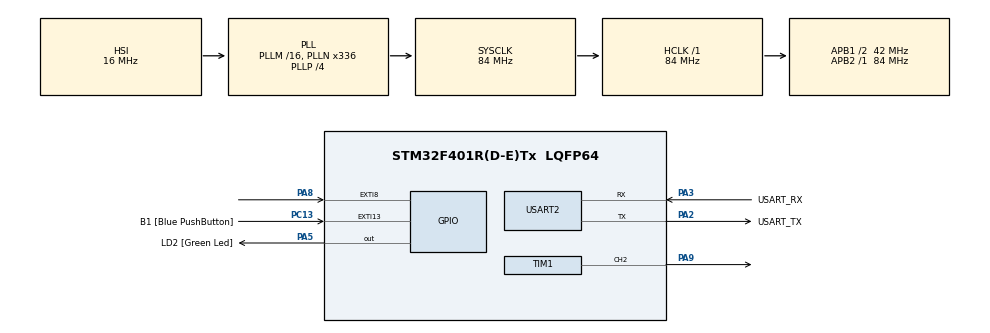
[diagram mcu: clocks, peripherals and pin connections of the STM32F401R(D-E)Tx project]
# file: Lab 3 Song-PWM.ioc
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Mcu.Family=STM32F4
Mcu.Name=STM32F401R(D-E)Tx
Mcu.Package=LQFP64
NVIC.EXTI9_5_IRQn=true\:0\:0\:false\:false\:true\:true\:true\:true
NVIC.PriorityGroup=NVIC_PRIORITYGROUP_0
PA13.GPIO_Label=TMS
PA13.Mode=Serial_Wire
PA13.Signal=SYS_JTMS-SWDIO
PA14.GPIO_Label=TCK
PA14.Mode=Serial_Wire
PA14.Signal=SYS_JTCK-SWCLK
PA2.GPIO_Label=USART_TX
PA2.GPIO_Mode=GPIO_MODE_AF_PP
PA2.GPIO_PuPd=GPIO_NOPULL
PA2.GPIO_Speed=GPIO_SPEED_FREQ_LOW
PA2.Mode=Asynchronous
PA2.Signal=USART2_TX
PA3.GPIO_Label=USART_RX
PA3.GPIO_Mode=GPIO_MODE_AF_PP
PA3.GPIO_PuPd=GPIO_NOPULL
PA3.GPIO_Speed=GPIO_SPEED_FREQ_LOW
PA3.Mode=Asynchronous
PA3.Signal=USART2_RX
PA5.GPIO_Label=LD2 [Green Led]
PA5.GPIO_Mode=GPIO_MODE_OUTPUT_PP
PA5.GPIO_PuPd=GPIO_NOPULL
PA5.GPIO_Speed=GPIO_SPEED_FREQ_LOW
PA5.Signal=GPIO_Output
PA8.Signal=GPXTI8
PA9.Signal=S_TIM1_CH2
PB3.GPIO_Label=SWO
PB3.Signal=SYS_JTDO-SWO
PC13-ANTI_TAMP.GPIO_Label=B1 [Blue PushButton]
PC13-ANTI_TAMP.GPIO_ModeDefaultEXTI=GPIO_MODE_IT_FALLING
PC13-ANTI_TAMP.GPIO_PuPd=GPIO_NOPULL
PC13-ANTI_TAMP.Signal=GPXTI13
PC14-OSC32_IN.Mode=LSE-External-Oscillator
PC14-OSC32_IN.Signal=RCC_OSC32_IN
PC15-OSC32_OUT.Mode=LSE-External-Oscillator
PC15-OSC32_OUT.Signal=RCC_OSC32_OUT
PH0\ -\ OSC_IN.Mode=HSE-External-Clock-Source
PH0\ -\ OSC_IN.Signal=RCC_OSC_IN
PH1\ -\ OSC_OUT.Mode=HSE-External-Clock-Source
PH1\ -\ OSC_OUT.Signal=RCC_OSC_OUT
ProjectManager.HeapSize=0x200
ProjectManager.StackSize=0x400
ProjectManager.TargetToolchain=STM32CubeIDE
RCC.48MHZClocksFreq_Value=48000000
RCC.AHBFreq_Value=84000000
RCC.APB1CLKDivider=RCC_HCLK_DIV2
RCC.APB1Freq_Value=42000000
RCC.APB1TimFreq_Value=84000000
RCC.APB2Freq_Value=84000000
RCC.APB2TimFreq_Value=84000000
RCC.CortexFreq_Value=84000000
RCC.HCLKFreq_Value=84000000
RCC.HSE_VALUE=8000000
RCC.HSI_VALUE=16000000
RCC.PLLN=336
RCC.PLLP=RCC_PLLP_DIV4
RCC.PLLQ=7
RCC.SYSCLKFreq_VALUE=84000000
RCC.SYSCLKSource=RCC_SYSCLKSOURCE_PLLCLK
RCC.VCOOutputFreq_Value=336000000
SH.S_TIM1_CH2.0=TIM1_CH2,PWM Generation2 CH2
TIM1.Channel-PWM\ Generation2\ CH2=TIM_CHANNEL_2
TIM1.Prescaler=83
USART2.VirtualMode=VM_ASYNC
VP_TIM1_VS_ClockSourceINT.Mode=Internal
board=NUCLEO-F401RE

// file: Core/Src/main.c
/* USER CODE BEGIN Header */
/**
  ******************************************************************************
  * @file           : main.c
  * @brief          : Main program body
  ******************************************************************************
  * @attention
  *
  * Copyright (c) 2023 STMicroelectronics.
  * All rights reserved.
  *
  * This software is licensed under terms that can be found in the LICENSE file
  * in the root directory of this software component.
  * If no LICENSE file comes with this software, it is provided AS-IS.
  *
  ******************************************************************************
  */
/* USER CODE END Header */
#include "main.h"

/* USER CODE BEGIN Includes */
#include <stdlib.h>
#include <string.h>
#include <math.h>
/* USER CODE END Includes */

/* USER CODE BEGIN PTD */
typedef struct {
	char name[4];
	float duration;
}note;

const note song1[] = {
		{"P", 	1},

		{"E4", 	1},
		{"B4", 	.5},
		{"C4", 	.5},
		{"D4", 	.5},
		{"E4", 	.25},
		{"D4", 	.25},
		{"C4", 	.5},
		{"B4", 	.5},
		{"A4", 	1},
		{"A4", 	.5},
		{"C4", 	.5},
		{"E4", 	1},
		{"D4", 	.5},
		{"C4", 	.5},
		{"B4", 	1},
		{"B4", 	.5},
		{"C4", 	.5},
		{"D4", 	1},
		{"E4", 	1},
		{"C4", 	1},
		{"A4", 	1},
		{"A4", 	.5},
		{"E2", 	.5},
		{"F2", 	.5},
		{"G2", 	.5},

		{"A3", 	0.5},
		{"D4", 	1},
		{"F4", 	.5},
		{"A5", 	1},
		{"G4", 	.5},
		{"F4", 	.5},
		{"E4", 	1.5},
		{"C4", 	.5},
		{"E4", 	1},
		{"D4", 	.5},
		{"C4", 	.5},
		{"B4", 	1},
		{"B4", 	.5},
		{"C4", 	.5},
		{"D4", 	1},
		{"E4", 	1},
		{"C4", 	1},
		{"A4", 	1},
		{"A4", 	1},
		{"P", 	1},

		//repetition
		{"E4", 	1},
		{"B4", 	.5},
		{"C4", 	.5},
		{"D4", 	.5},
		{"E4", 	.25},
		{"D4", 	.25},
		{"C4", 	.5},
		{"B4", 	.5},
		{"A4", 	1},
		{"A4", 	.5},
		{"C4", 	.5},
		{"E4", 	1},
		{"D4", 	.5},
		{"C4", 	.5},
		{"B4", 	1},
		{"B4", 	.5},
		{"C4", 	.5},
		{"D4", 	1},
		{"E4", 	1},
		{"C4", 	1},
		{"A4", 	1},
		{"A4", 	.5},
		{"E2", 	.5},
		{"F2", 	.5},
		{"G2", 	.5},

		{"A3", 	0.5},
		{"D4", 	1},
		{"F4", 	.5},
		{"A5", 	1},
		{"G4", 	.5},
		{"F4", 	.5},
		{"E4", 	1.5},
		{"C4", 	.5},
		{"E4", 	1},
		{"D4", 	.5},
		{"C4", 	.5},
		{"B4", 	1},
		{"B4", 	.5},
		{"C4", 	.5},
		{"D4", 	1},
		{"E4", 	1},
		{"C4", 	1},
		{"A4", 	1},
		{"A4", 	1},
		{"P", 	1},

		//second verse
		{"E3", 	.5},
		{"E2", 	.5},
		{"D2", 	.5},
		{"E2", 	.5},
		{"C3", 	.5},
		{"E2", 	.5},
		{"D2", 	.5},
		{"E2", 	.5},

		{"D3", 	.5},
		{"E2", 	.5},
		{"C#2", .5},
		{"E2", 	.5},
		{"B3", 	.5},
		{"E2", 	.5},
		{"C#2", .5},
		{"E2", 	.5},

		{"C3", 	.5},
		{"E2", 	.5},
		{"D2", 	.5},
		{"E2", 	.5},
		{"A3", 	.5},
		{"E2", 	.5},
		{"D2", 	.5},
		{"E2", 	.5},

		{"G#2", .5},
		{"E2", 	.5},
		{"C#2", .5},
		{"E2", 	.5},
		{"B3", 	.5},
		{"E2", 	.5},
		{"C#2", .5},
		{"E2", 	.5},

		{"E3", 	.5},
		{"E2", 	.5},
		{"D2", 	.5},
		{"E2", 	.5},
		{"C3", 	.5},
		{"E2", 	.5},
		{"D2", 	.5},
		{"E2", 	.5},

		{"D3", .5},
		{"E2", 	.5},
		{"C#2", .5},
		{"E2", 	.5},
		{"B3", 	.5},
		{"E2", 	.5},
		{"C#2", .5},
		{"E2", 	.5},

		{"C3", .5},
		{"A2", 	.5},
		{"E3", .5},
		{"D2", 	.5},
		{"A4", 	.5},
		{"D2", 	.5},
		{"A4", .5},
		{"D2", 	.5},

		{"G#3", 4}

};

const note gameOver[] = {
		{"P", 	2},
		{"C#5", .5},
		{"C5", 	.5},
		{"C#5", .5},
		{"C5", 	.5},
		{"C#5", .5},
		{"D#5", .5},
		{"C#5", .5},
		{"C5", 	.5},
		{"C#5", 1.5}
};
/* USER CODE END PTD */

TIM_HandleTypeDef htim1;

UART_HandleTypeDef huart2;

/* USER CODE BEGIN PV */
float BPS = 60.0/160.0;
int SPEAKER_STATE = 0;
/* USER CODE END PV */

void SystemClock_Config(void);
static void MX_GPIO_Init(void);
static void MX_USART2_UART_Init(void);
static void MX_TIM1_Init(void);

/* USER CODE BEGIN 0 */

float note_to_freq(char* note);

void play_note(note val);

void set_pwm(float freq);

/* USER CODE END 0 */

int main(void)
{

  /* MCU Configuration--------------------------------------------------------*/

  /* Reset of all peripherals, Initializes the Flash interface and the Systick. */
  HAL_Init();

  /* Configure the system clock */
  SystemClock_Config();

  /* Initialize all configured peripherals */
  MX_GPIO_Init();
  MX_USART2_UART_Init();
  MX_TIM1_Init();

  /* Infinite loop */
  /* USER CODE BEGIN WHILE */

  int song_length = sizeof(song1)/sizeof(song1[0]);

  while (60.0/250.0 < BPS)
  {
	  if(SPEAKER_STATE){
		  for(int i = 0; i < song_length; i++){
			  play_note(song1[i]);
			  BPS -= 0.0004;
		  }
		  SPEAKER_STATE = 0;
	  }

    /* USER CODE END WHILE */

    /* USER CODE BEGIN 3 */
  }

  BPS = 60.0/160.0;
  song_length = sizeof(gameOver)/sizeof(gameOver[0]);
  for(int i = 0; i < song_length; i++){
	  play_note(gameOver[i]);

  }

  /* USER CODE END 3 */
}

void SystemClock_Config(void)
{
  RCC_OscInitTypeDef RCC_OscInitStruct = {0};
  RCC_ClkInitTypeDef RCC_ClkInitStruct = {0};

  /** Configure the main internal regulator output voltage
  */
  __HAL_RCC_PWR_CLK_ENABLE();
  __HAL_PWR_VOLTAGESCALING_CONFIG(PWR_REGULATOR_VOLTAGE_SCALE2);

  /** Initializes the RCC Oscillators according to the specified parameters
  * in the RCC_OscInitTypeDef structure.
  */
  RCC_OscInitStruct.OscillatorType = RCC_OSCILLATORTYPE_HSI;
  RCC_OscInitStruct.HSIState = RCC_HSI_ON;
  RCC_OscInitStruct.HSICalibrationValue = RCC_HSICALIBRATION_DEFAULT;
  RCC_OscInitStruct.PLL.PLLState = RCC_PLL_ON;
  RCC_OscInitStruct.PLL.PLLSource = RCC_PLLSOURCE_HSI;
  RCC_OscInitStruct.PLL.PLLM = 16;
  RCC_OscInitStruct.PLL.PLLN = 336;
  RCC_OscInitStruct.PLL.PLLP = RCC_PLLP_DIV4;
  RCC_OscInitStruct.PLL.PLLQ = 7;
  if (HAL_RCC_OscConfig(&RCC_OscInitStruct) != HAL_OK)
  {
    Error_Handler();
  }

  /** Initializes the CPU, AHB and APB buses clocks
  */
  RCC_ClkInitStruct.ClockType = RCC_CLOCKTYPE_HCLK|RCC_CLOCKTYPE_SYSCLK
                              |RCC_CLOCKTYPE_PCLK1|RCC_CLOCKTYPE_PCLK2;
  RCC_ClkInitStruct.SYSCLKSource = RCC_SYSCLKSOURCE_PLLCLK;
  RCC_ClkInitStruct.AHBCLKDivider = RCC_SYSCLK_DIV1;
  RCC_ClkInitStruct.APB1CLKDivider = RCC_HCLK_DIV2;
  RCC_ClkInitStruct.APB2CLKDivider = RCC_HCLK_DIV1;

  if (HAL_RCC_ClockConfig(&RCC_ClkInitStruct, FLASH_LATENCY_2) != HAL_OK)
  {
    Error_Handler();
  }
}

static void MX_TIM1_Init(void)
{

  TIM_ClockConfigTypeDef sClockSourceConfig = {0};
  TIM_MasterConfigTypeDef sMasterConfig = {0};
  TIM_OC_InitTypeDef sConfigOC = {0};
  TIM_BreakDeadTimeConfigTypeDef sBreakDeadTimeConfig = {0};

  htim1.Instance = TIM1;
  htim1.Init.Prescaler = 83;
  htim1.Init.CounterMode = TIM_COUNTERMODE_UP;
  htim1.Init.Period = 65535;
  htim1.Init.ClockDivision = TIM_CLOCKDIVISION_DIV1;
  htim1.Init.RepetitionCounter = 0;
  htim1.Init.AutoReloadPreload = TIM_AUTORELOAD_PRELOAD_DISABLE;
  if (HAL_TIM_Base_Init(&htim1) != HAL_OK)
  {
    Error_Handler();
  }
  sClockSourceConfig.ClockSource = TIM_CLOCKSOURCE_INTERNAL;
  if (HAL_TIM_ConfigClockSource(&htim1, &sClockSourceConfig) != HAL_OK)
  {
    Error_Handler();
  }
  if (HAL_TIM_PWM_Init(&htim1) != HAL_OK)
  {
    Error_Handler();
  }
  sMasterConfig.MasterOutputTrigger = TIM_TRGO_RESET;
  sMasterConfig.MasterSlaveMode = TIM_MASTERSLAVEMODE_DISABLE;
  if (HAL_TIMEx_MasterConfigSynchronization(&htim1, &sMasterConfig) != HAL_OK)
  {
    Error_Handler();
  }
  sConfigOC.OCMode = TIM_OCMODE_PWM1;
  sConfigOC.Pulse = 0;
  sConfigOC.OCPolarity = TIM_OCPOLARITY_HIGH;
  sConfigOC.OCNPolarity = TIM_OCNPOLARITY_HIGH;
  sConfigOC.OCFastMode = TIM_OCFAST_DISABLE;
  sConfigOC.OCIdleState = TIM_OCIDLESTATE_RESET;
  sConfigOC.OCNIdleState = TIM_OCNIDLESTATE_RESET;
  if (HAL_TIM_PWM_ConfigChannel(&htim1, &sConfigOC, TIM_CHANNEL_2) != HAL_OK)
  {
    Error_Handler();
  }
  sBreakDeadTimeConfig.OffStateRunMode = TIM_OSSR_DISABLE;
  sBreakDeadTimeConfig.OffStateIDLEMode = TIM_OSSI_DISABLE;
  sBreakDeadTimeConfig.LockLevel = TIM_LOCKLEVEL_OFF;
  sBreakDeadTimeConfig.DeadTime = 0;
  sBreakDeadTimeConfig.BreakState = TIM_BREAK_DISABLE;
  sBreakDeadTimeConfig.BreakPolarity = TIM_BREAKPOLARITY_HIGH;
  sBreakDeadTimeConfig.AutomaticOutput = TIM_AUTOMATICOUTPUT_DISABLE;
  if (HAL_TIMEx_ConfigBreakDeadTime(&htim1, &sBreakDeadTimeConfig) != HAL_OK)
  {
    Error_Handler();
  }
  HAL_TIM_MspPostInit(&htim1);

}

static void MX_USART2_UART_Init(void)
{

  huart2.Instance = USART2;
  huart2.Init.BaudRate = 115200;
  huart2.Init.WordLength = UART_WORDLENGTH_8B;
  huart2.Init.StopBits = UART_STOPBITS_1;
  huart2.Init.Parity = UART_PARITY_NONE;
  huart2.Init.Mode = UART_MODE_TX_RX;
  huart2.Init.HwFlowCtl = UART_HWCONTROL_NONE;
  huart2.Init.OverSampling = UART_OVERSAMPLING_16;
  if (HAL_UART_Init(&huart2) != HAL_OK)
  {
    Error_Handler();
  }

}

static void MX_GPIO_Init(void)
{
  GPIO_InitTypeDef GPIO_InitStruct = {0};

  /* GPIO Ports Clock Enable */
  __HAL_RCC_GPIOC_CLK_ENABLE();
  __HAL_RCC_GPIOH_CLK_ENABLE();
  __HAL_RCC_GPIOA_CLK_ENABLE();
  __HAL_RCC_GPIOB_CLK_ENABLE();

  /*Configure GPIO pin Output Level */
  HAL_GPIO_WritePin(LD2_GPIO_Port, LD2_Pin, GPIO_PIN_RESET);

  /*Configure GPIO pin : B1_Pin */
  GPIO_InitStruct.Pin = B1_Pin;
  GPIO_InitStruct.Mode = GPIO_MODE_IT_FALLING;
  GPIO_InitStruct.Pull = GPIO_NOPULL;
  HAL_GPIO_Init(B1_GPIO_Port, &GPIO_InitStruct);

  /*Configure GPIO pin : LD2_Pin */
  GPIO_InitStruct.Pin = LD2_Pin;
  GPIO_InitStruct.Mode = GPIO_MODE_OUTPUT_PP;
  GPIO_InitStruct.Pull = GPIO_NOPULL;
  GPIO_InitStruct.Speed = GPIO_SPEED_FREQ_LOW;
  HAL_GPIO_Init(LD2_GPIO_Port, &GPIO_InitStruct);

  /*Configure GPIO pin : PA8 */
  GPIO_InitStruct.Pin = GPIO_PIN_8;
  GPIO_InitStruct.Mode = GPIO_MODE_IT_RISING;
  GPIO_InitStruct.Pull = GPIO_NOPULL;
  HAL_GPIO_Init(GPIOA, &GPIO_InitStruct);

  /* EXTI interrupt init*/
  HAL_NVIC_SetPriority(EXTI9_5_IRQn, 0, 0);
  HAL_NVIC_EnableIRQ(EXTI9_5_IRQn);

}

/* USER CODE BEGIN 4 */

/**
  * @brief Conversion from note in string form to corresponding frequency
  * @retval Floating point frequency
  */
float note_to_freq(char* note){
	switch(note[0]){
	case 'A':
		if(note[1] == '#')
			return 58.27*pow(2, atoi(&note[2]));
		return 55*pow(2, (float)atoi(&note[1]));
		break;
	case 'B':
		return 61.74*pow(2, (float)atoi(&note[1]));
		break;
	case 'C':
		if(note[1] == '#')
			return 69.30*pow(2, atoi(&note[2]));
		return 65.41*pow(2, (float)atoi(&note[1]));
		break;
	case 'D':
		if(note[1] == '#')
			return 77.78*pow(2, atoi(&note[2]));
		return 73.42*pow(2, (float)atoi(&note[1]));
		break;
	case 'E':
		return 82.41*pow(2, (float)atoi(&note[1]));
		break;
	case 'F':
		if(note[1] == '#')
			return 92.50*pow(2, atoi(&note[2]));
		return 87.31*pow(2, (float)atoi(&note[1]));
		break;
	case 'G':
		if(note[1] == '#')
			return 103.83*pow(2, atoi(&note[2]));
		return 98.00*pow(2, (float)atoi(&note[1]));
		break;
	default:
		return 1;
		break;
	}
}

void set_pwm(float freq){
	htim1.Init.Period = 1000000/freq-1;
	if (HAL_TIM_PWM_Init(&htim1) != HAL_OK)	Error_Handler();

	TIM_OC_InitTypeDef sConfigOC = {0};

	sConfigOC.OCMode = TIM_OCMODE_PWM1;
	sConfigOC.Pulse = 1000000/freq/2-1;
	sConfigOC.OCPolarity = TIM_OCPOLARITY_HIGH;
	sConfigOC.OCNPolarity = TIM_OCNPOLARITY_HIGH;
	sConfigOC.OCFastMode = TIM_OCFAST_DISABLE;
	sConfigOC.OCIdleState = TIM_OCIDLESTATE_RESET;
	sConfigOC.OCNIdleState = TIM_OCNIDLESTATE_RESET;
	if (HAL_TIM_PWM_ConfigChannel(&htim1, &sConfigOC, TIM_CHANNEL_2) != HAL_OK)	Error_Handler();
}
/**
  * @brief Given a note in string format and a duration in 4/4 plays the note requested
  * @retval None
  */
void play_note(note val){

	  float freq = note_to_freq(val.name);

	  if(freq != 1){
		  set_pwm(freq);

		  if(HAL_TIM_PWM_Start(&htim1, TIM_CHANNEL_2) != HAL_OK)	Error_Handler();

		  HAL_Delay(BPS * 1000 * val.duration * 0.9);
		  if(HAL_TIM_PWM_Stop(&htim1, TIM_CHANNEL_2) != HAL_OK) 	Error_Handler();
		  HAL_Delay(BPS * 1000 * val.duration * 0.1);
	  }else{
		  HAL_Delay(BPS * 1000 * val.duration);
	  }

}

void HAL_GPIO_EXTI_Callback(uint16_t GPIO_Pin){
	if(GPIO_Pin == GPIO_PIN_8){
		SPEAKER_STATE = 1;
	}

}
/* USER CODE END 4 */

void Error_Handler(void)
{
  __disable_irq();
  while (1)
  {
  }
}
